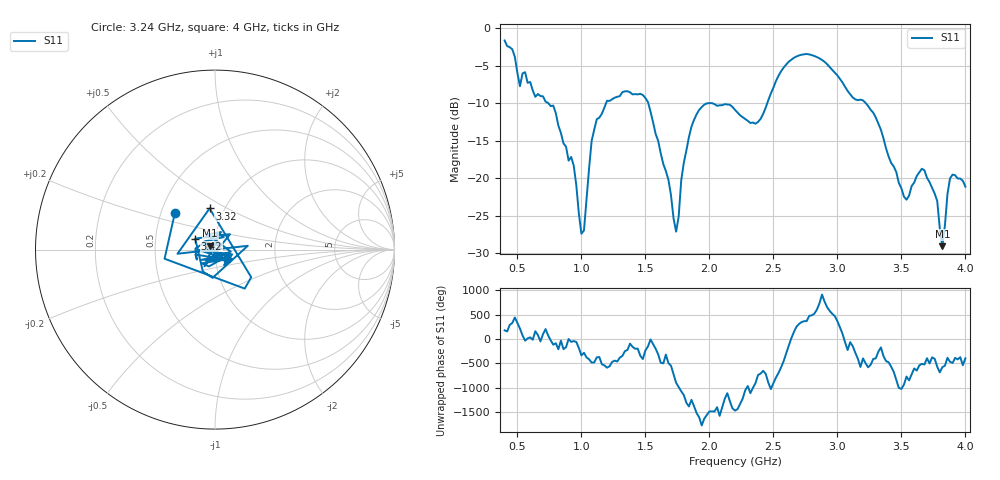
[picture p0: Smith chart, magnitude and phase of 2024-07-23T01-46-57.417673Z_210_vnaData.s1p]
!Created with skrf (http://scikit-rf.org).
# Hz S RI R 50.0
!freq ReS11 ImS11
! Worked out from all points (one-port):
!   181 points, 400 MHz to 4 GHz, reference 50 ohm
!   lowest |S11| = -29.1 dB at 3.82 GHz (marker M1), VSWR 1.07, Z = 47.3 + j2.1 ohm
!   |S11| at or under -10 dB: 741.5 MHz to 1.193 GHz (451.3 MHz wide, 46.7 % of centre); 1.522 GHz to 1.997 GHz (474.5 MHz wide, 27 % of centre); 3.222 GHz to end of sweep (the widest 3 of 4)
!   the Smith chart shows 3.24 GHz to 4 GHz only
!   S11 on the Smith chart (normalised r, x): 3.24 GHz: 0.59, +0.27; 3.32 GHz: 0.85, +0.41; 3.42 GHz: 0.80, +0.10; 4 GHz: 1.14, -0.12
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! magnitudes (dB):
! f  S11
! 400 MHz  -1.6
! 520 MHz  -7.7
! 560 MHz  -5.9
! 780 MHz  -10.3
! 860 MHz  -15.4
! 940 MHz  -18.3
! 1 GHz  -27.4
! 1.08 GHz  -15.0
! 1.12 GHz  -12.1
! 1.3 GHz  -9.1
! 1.52 GHz  -9.8
! 1.74 GHz  -27.1
! 1.76 GHz  -25.1
! 1.8 GHz  -18.0
! 1.9 GHz  -11.5
! 2.2 GHz  -10.9
! 2.38 GHz  -12.5
! 2.66 GHz  -3.9
! 3.1 GHz  -8.8
! 3.24 GHz  -10.4
! 3.32 GHz  -12.7
! 3.42 GHz  -18.0
! 3.56 GHz  -22.3
! 3.68 GHz  -19.0
! 3.78 GHz  -23.0
! 3.82 GHz  -29.1
! 3.88 GHz  -20.0
! 4 GHz  -21.1
